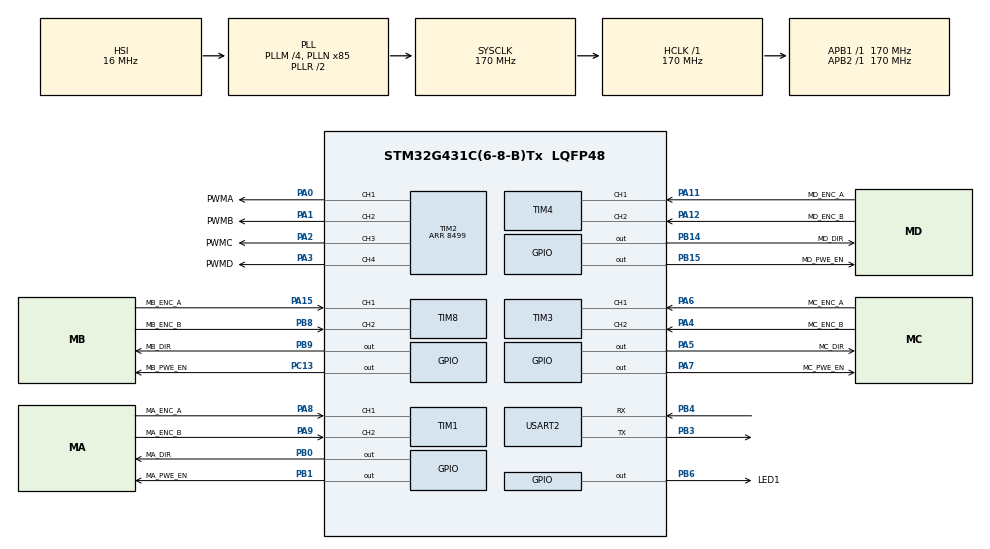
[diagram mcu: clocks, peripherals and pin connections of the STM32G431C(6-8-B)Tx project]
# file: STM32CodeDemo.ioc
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Mcu.Family=STM32G4
Mcu.Name=STM32G431C(6-8-B)Tx
Mcu.Package=LQFP48
NVIC.PriorityGroup=NVIC_PRIORITYGROUP_4
NVIC.TIM6_DAC_IRQn=true\:0\:0\:false\:false\:true\:true\:true\:true
PA0.GPIO_Label=PWMA
PA0.Signal=S_TIM2_CH1
PA1.GPIO_Label=PWMB
PA1.Signal=S_TIM2_CH2
PA11.GPIO_Label=MD_ENC_A
PA11.GPIO_PuPd=GPIO_PULLUP
PA11.GPIO_Speed=GPIO_SPEED_FREQ_HIGH
PA11.Signal=S_TIM4_CH1
PA12.GPIO_Label=MD_ENC_B
PA12.GPIO_PuPd=GPIO_PULLUP
PA12.GPIO_Speed=GPIO_SPEED_FREQ_HIGH
PA12.Signal=S_TIM4_CH2
PA13.Mode=Serial_Wire
PA13.Signal=SYS_JTMS-SWDIO
PA14.Mode=Serial_Wire
PA14.Signal=SYS_JTCK-SWCLK
PA15.GPIO_Label=MB_ENC_A
PA15.GPIO_PuPd=GPIO_PULLUP
PA15.GPIO_Speed=GPIO_SPEED_FREQ_HIGH
PA15.Signal=S_TIM8_CH1
PA2.GPIO_Label=PWMC
PA2.Signal=S_TIM2_CH3
PA3.GPIO_Label=PWMD
PA3.Signal=S_TIM2_CH4
PA4.GPIO_Label=MC_ENC_B
PA4.GPIO_PuPd=GPIO_PULLUP
PA4.GPIO_Speed=GPIO_SPEED_FREQ_HIGH
PA4.Signal=S_TIM3_CH2
PA5.GPIO_Label=MC_DIR
PA5.GPIO_Speed=GPIO_SPEED_FREQ_HIGH
PA5.Signal=GPIO_Output
PA6.GPIO_Label=MC_ENC_A
PA6.GPIO_PuPd=GPIO_PULLUP
PA6.GPIO_Speed=GPIO_SPEED_FREQ_HIGH
PA6.Signal=S_TIM3_CH1
PA7.GPIO_Label=MC_PWE_EN
PA7.Signal=GPIO_Output
PA8.GPIO_Label=MA_ENC_A
PA8.GPIO_PuPd=GPIO_PULLUP
PA8.GPIO_Speed=GPIO_SPEED_FREQ_HIGH
PA8.Signal=S_TIM1_CH1
PA9.GPIO_Label=MA_ENC_B
PA9.GPIO_PuPd=GPIO_PULLUP
PA9.GPIO_Speed=GPIO_SPEED_FREQ_HIGH
PA9.Signal=S_TIM1_CH2
PB0.GPIO_Label=MA_DIR
PB0.GPIO_Speed=GPIO_SPEED_FREQ_HIGH
PB0.Signal=GPIO_Output
PB1.GPIO_Label=MA_PWE_EN
PB1.Signal=GPIO_Output
PB14.GPIO_Label=MD_DIR
PB14.GPIO_Speed=GPIO_SPEED_FREQ_HIGH
PB14.Signal=GPIO_Output
PB15.GPIO_Label=MD_PWE_EN
PB15.Signal=GPIO_Output
PB3.Mode=Asynchronous
PB3.Signal=USART2_TX
PB4.Mode=Asynchronous
PB4.Signal=USART2_RX
PB6.GPIO_Label=LED1
PB6.Signal=GPIO_Output
PB8-BOOT0.GPIO_Label=MB_ENC_B
PB8-BOOT0.GPIO_PuPd=GPIO_PULLUP
PB8-BOOT0.GPIO_Speed=GPIO_SPEED_FREQ_HIGH
PB8-BOOT0.Signal=S_TIM8_CH2
PB9.GPIO_Label=MB_DIR
PB9.GPIO_Speed=GPIO_SPEED_FREQ_HIGH
PB9.Signal=GPIO_Output
PC13.GPIO_Label=MB_PWE_EN
PC13.Signal=GPIO_Output
ProjectManager.HeapSize=0x200
ProjectManager.StackSize=0x400
ProjectManager.TargetToolchain=CMake
RCC.ADC12Freq_Value=170000000
RCC.AHBFreq_Value=170000000
RCC.APB1Freq_Value=170000000
RCC.APB1TimFreq_Value=170000000
RCC.APB2Freq_Value=170000000
RCC.APB2TimFreq_Value=170000000
RCC.CortexFreq_Value=170000000
RCC.EXTERNAL_CLOCK_VALUE=12288000
RCC.HCLKFreq_Value=170000000
RCC.HSE_VALUE=8000000
RCC.HSI48_VALUE=48000000
RCC.HSI_VALUE=16000000
RCC.LSE_VALUE=32768
RCC.PLLM=RCC_PLLM_DIV4
RCC.PLLN=85
RCC.SYSCLKFreq_VALUE=170000000
RCC.SYSCLKSource=RCC_SYSCLKSOURCE_PLLCLK
RCC.USBFreq_Value=170000000
RCC.VCOOutputFreq_Value=340000000
SH.S_TIM1_CH1.0=TIM1_CH1,Encoder_Interface
SH.S_TIM1_CH2.0=TIM1_CH2,Encoder_Interface
SH.S_TIM2_CH1.0=TIM2_CH1,PWM Generation1 CH1
SH.S_TIM2_CH2.0=TIM2_CH2,PWM Generation2 CH2
SH.S_TIM2_CH3.0=TIM2_CH3,PWM Generation3 CH3
SH.S_TIM2_CH4.0=TIM2_CH4,PWM Generation4 CH4
SH.S_TIM3_CH1.0=TIM3_CH1,Encoder_Interface
SH.S_TIM3_CH2.0=TIM3_CH2,Encoder_Interface
SH.S_TIM4_CH1.0=TIM4_CH1,Encoder_Interface
SH.S_TIM4_CH2.0=TIM4_CH2,Encoder_Interface
SH.S_TIM8_CH1.0=TIM8_CH1,Encoder_Interface
SH.S_TIM8_CH2.0=TIM8_CH2,Encoder_Interface
TIM1.EncoderMode=TIM_ENCODERMODE_TI12
TIM1.IC1Filter=0
TIM2.Channel-PWM\ Generation1\ CH1=TIM_CHANNEL_1
TIM2.Channel-PWM\ Generation2\ CH2=TIM_CHANNEL_2
TIM2.Channel-PWM\ Generation3\ CH3=TIM_CHANNEL_3
TIM2.Channel-PWM\ Generation4\ CH4=TIM_CHANNEL_4
TIM2.PeriodNoDither=8499
TIM3.EncoderMode=TIM_ENCODERMODE_TI12
TIM3.IC1Filter=0
TIM4.EncoderMode=TIM_ENCODERMODE_TI12
TIM6.PeriodNoDither=99
TIM6.Prescaler=16999
TIM8.EncoderMode=TIM_ENCODERMODE_TI12
TIM8.IC1Filter=0
USART2.VirtualMode-Asynchronous=VM_ASYNC
VP_SYS_VS_DBSignals.Mode=DisableDeadBatterySignals
VP_TIM6_VS_ClockSourceINT.Mode=Enable_Timer
board=custom

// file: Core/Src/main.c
/* USER CODE BEGIN Header */
/**
  ******************************************************************************
  * @file           : main.c
  * @brief          : Main program body
  ******************************************************************************
  * @attention
  *
  * Copyright (c) 2026 STMicroelectronics.
  * All rights reserved.
  *
  * This software is licensed under terms that can be found in the LICENSE file
  * in the root directory of this software component.
  * If no LICENSE file comes with this software, it is provided AS-IS.
  *
  ******************************************************************************
  */
/* USER CODE END Header */
#include "main.h"
#include "tim.h"
#include "usart.h"
#include "gpio.h"

/* USER CODE BEGIN PV */
volatile int16_t encoder_count = 0;
volatile int16_t encoder_delta = 0;
volatile uint8_t encoder_a = 0;
volatile uint8_t encoder_b = 0;
volatile HAL_StatusTypeDef encoder_start_status;
/* USER CODE END PV */

void SystemClock_Config(void);

int main(void)
{

  /* MCU Configuration--------------------------------------------------------*/

  /* Reset of all peripherals, Initializes the Flash interface and the Systick. */
  HAL_Init();

  /* Configure the system clock */
  SystemClock_Config();

  /* Initialize all configured peripherals */
  MX_GPIO_Init();
  MX_TIM2_Init();
  MX_TIM1_Init();
  MX_TIM3_Init();
  MX_TIM4_Init();
  MX_TIM6_Init();
  MX_TIM8_Init();
  MX_USART2_UART_Init();
  /* USER CODE BEGIN 2 */
  //PWMC
  __HAL_TIM_SET_COMPARE(&htim2,
                      TIM_CHANNEL_3,
                      0);
  HAL_GPIO_WritePin(GPIOA,
                  GPIO_PIN_7,
                  GPIO_PIN_SET);
  HAL_Delay(10);
  HAL_GPIO_WritePin(GPIOA,
                  GPIO_PIN_5,
                  GPIO_PIN_SET);
  HAL_Delay(10);
  HAL_TIM_PWM_Start(&htim2,TIM_CHANNEL_3);
  __HAL_TIM_SET_COMPARE(&htim2,
      TIM_CHANNEL_3,
      4250);
  /* USER CODE END 2 */

  /* Infinite loop */
  /* USER CODE BEGIN WHILE */
  while (1)
  {
    //获取定时器3的计数值
    int16_t now =
        (int16_t)__HAL_TIM_GET_COUNTER(&htim3);

    encoder_delta =
        (int16_t)(now - encoder_count);

    encoder_count = now;

    encoder_a =
        (uint8_t)HAL_GPIO_ReadPin(GPIOA, GPIO_PIN_6);

    encoder_b =
        (uint8_t)HAL_GPIO_ReadPin(GPIOA, GPIO_PIN_4);

    HAL_GPIO_TogglePin(GPIOB, LED1_Pin);
    HAL_Delay(100);
    /* USER CODE END WHILE */

  }
}

void SystemClock_Config(void)
{
  RCC_OscInitTypeDef RCC_OscInitStruct = {0};
  RCC_ClkInitTypeDef RCC_ClkInitStruct = {0};

  /** Configure the main internal regulator output voltage
  */
  HAL_PWREx_ControlVoltageScaling(PWR_REGULATOR_VOLTAGE_SCALE1_BOOST);

  /** Initializes the RCC Oscillators according to the specified parameters
  * in the RCC_OscInitTypeDef structure.
  */
  RCC_OscInitStruct.OscillatorType = RCC_OSCILLATORTYPE_HSI;
  RCC_OscInitStruct.HSIState = RCC_HSI_ON;
  RCC_OscInitStruct.HSICalibrationValue = RCC_HSICALIBRATION_DEFAULT;
  RCC_OscInitStruct.PLL.PLLState = RCC_PLL_ON;
  RCC_OscInitStruct.PLL.PLLSource = RCC_PLLSOURCE_HSI;
  RCC_OscInitStruct.PLL.PLLM = RCC_PLLM_DIV4;
  RCC_OscInitStruct.PLL.PLLN = 85;
  RCC_OscInitStruct.PLL.PLLP = RCC_PLLP_DIV2;
  RCC_OscInitStruct.PLL.PLLQ = RCC_PLLQ_DIV2;
  RCC_OscInitStruct.PLL.PLLR = RCC_PLLR_DIV2;
  if (HAL_RCC_OscConfig(&RCC_OscInitStruct) != HAL_OK)
  {
    Error_Handler();
  }

  /** Initializes the CPU, AHB and APB buses clocks
  */
  RCC_ClkInitStruct.ClockType = RCC_CLOCKTYPE_HCLK|RCC_CLOCKTYPE_SYSCLK
                              |RCC_CLOCKTYPE_PCLK1|RCC_CLOCKTYPE_PCLK2;
  RCC_ClkInitStruct.SYSCLKSource = RCC_SYSCLKSOURCE_PLLCLK;
  RCC_ClkInitStruct.AHBCLKDivider = RCC_SYSCLK_DIV1;
  RCC_ClkInitStruct.APB1CLKDivider = RCC_HCLK_DIV1;
  RCC_ClkInitStruct.APB2CLKDivider = RCC_HCLK_DIV1;

  if (HAL_RCC_ClockConfig(&RCC_ClkInitStruct, FLASH_LATENCY_4) != HAL_OK)
  {
    Error_Handler();
  }
}

void Error_Handler(void)
{
  __disable_irq();
  while (1)
  {
  }
}
